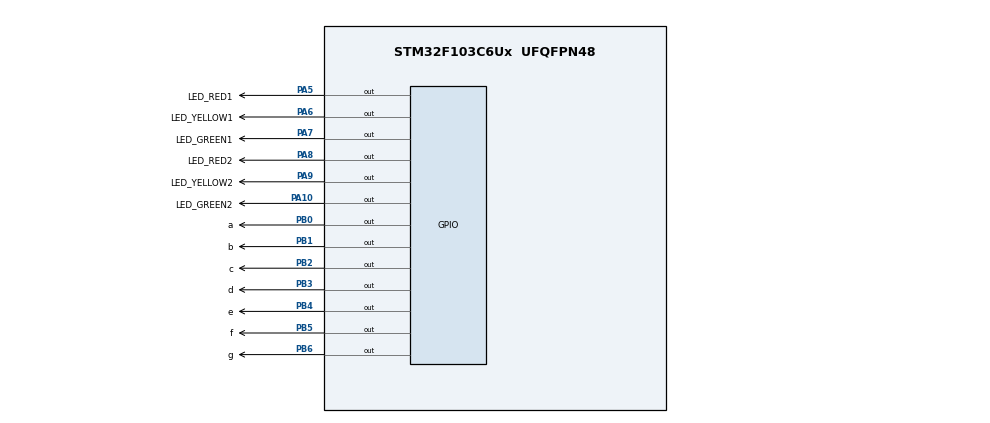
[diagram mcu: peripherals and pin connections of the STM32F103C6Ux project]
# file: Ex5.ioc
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Mcu.Family=STM32F1
Mcu.Name=STM32F103C6Ux
Mcu.Package=UFQFPN48
NVIC.PriorityGroup=NVIC_PRIORITYGROUP_4
PA10.GPIO_Label=LED_GREEN2
PA10.Signal=GPIO_Output
PA5.GPIO_Label=LED_RED1
PA5.Signal=GPIO_Output
PA6.GPIO_Label=LED_YELLOW1
PA6.Signal=GPIO_Output
PA7.GPIO_Label=LED_GREEN1
PA7.Signal=GPIO_Output
PA8.GPIO_Label=LED_RED2
PA8.Signal=GPIO_Output
PA9.GPIO_Label=LED_YELLOW2
PA9.Signal=GPIO_Output
PB0.GPIO_Label=a
PB0.Signal=GPIO_Output
PB1.GPIO_Label=b
PB1.Signal=GPIO_Output
PB2.GPIO_Label=c
PB2.Signal=GPIO_Output
PB3.GPIO_Label=d
PB3.Signal=GPIO_Output
PB4.GPIO_Label=e
PB4.Signal=GPIO_Output
PB5.GPIO_Label=f
PB5.Signal=GPIO_Output
PB6.GPIO_Label=g
PB6.Signal=GPIO_Output
ProjectManager.HeapSize=0x200
ProjectManager.StackSize=0x400
ProjectManager.TargetToolchain=STM32CubeIDE
RCC.APB1Freq_Value=8000000
RCC.APB2Freq_Value=8000000
VP_SYS_VS_ND.Mode=No_Debug
board=custom

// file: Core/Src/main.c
/* USER CODE BEGIN Header */
/**
  ******************************************************************************
  * @file           : main.c
  * @brief          : Main program body
  ******************************************************************************
  * @attention
  *
  * <h2><center>&copy; Copyright (c) 2023 STMicroelectronics.
  * All rights reserved.</center></h2>
  *
  * This software component is licensed by ST under BSD 3-Clause license,
  * the "License"; You may not use this file except in compliance with the
  * License. You may obtain a copy of the License at:
  *                        opensource.org/licenses/BSD-3-Clause
  *
  ******************************************************************************
  */
/* USER CODE END Header */
#include "main.h"

void SystemClock_Config(void);
static void MX_GPIO_Init(void);

/* USER CODE BEGIN 0 */
void display7SEG(int num)
{
    	  switch(num)
    	  {
    	  	  	case 0:
    				  HAL_GPIO_WritePin(a_GPIO_Port, a_Pin, RESET);
    				  HAL_GPIO_WritePin(b_GPIO_Port, b_Pin, RESET);
    				  HAL_GPIO_WritePin(c_GPIO_Port, c_Pin, RESET);
    				  HAL_GPIO_WritePin(d_GPIO_Port, d_Pin, RESET);
    				  HAL_GPIO_WritePin(e_GPIO_Port, e_Pin, RESET);
    				  HAL_GPIO_WritePin(f_GPIO_Port, f_Pin, RESET);
    				  HAL_GPIO_WritePin(g_GPIO_Port, g_Pin, SET);
    				  break;
    	  		case 1:
    				  HAL_GPIO_WritePin(a_GPIO_Port, a_Pin, SET);
    				  HAL_GPIO_WritePin(b_GPIO_Port, b_Pin, RESET);
    				  HAL_GPIO_WritePin(c_GPIO_Port, c_Pin, RESET);
    				  HAL_GPIO_WritePin(d_GPIO_Port, d_Pin, SET);
    				  HAL_GPIO_WritePin(e_GPIO_Port, e_Pin, SET);
    				  HAL_GPIO_WritePin(f_GPIO_Port, f_Pin, SET);
    				  HAL_GPIO_WritePin(g_GPIO_Port, g_Pin, SET);
    				  break;
    	  		case 2:
    				  HAL_GPIO_WritePin(a_GPIO_Port, a_Pin, RESET);
    				  HAL_GPIO_WritePin(b_GPIO_Port, b_Pin, RESET);
    				  HAL_GPIO_WritePin(c_GPIO_Port, c_Pin, SET);
    				  HAL_GPIO_WritePin(d_GPIO_Port, d_Pin, RESET);
    				  HAL_GPIO_WritePin(e_GPIO_Port, e_Pin, RESET);
    				  HAL_GPIO_WritePin(f_GPIO_Port, f_Pin, SET);
    				  HAL_GPIO_WritePin(g_GPIO_Port, g_Pin, RESET);
    				  break;
    	  		case 3:
    				  HAL_GPIO_WritePin(a_GPIO_Port, a_Pin, RESET);
    				  HAL_GPIO_WritePin(b_GPIO_Port, b_Pin, RESET);
    				  HAL_GPIO_WritePin(c_GPIO_Port, c_Pin, RESET);
    				  HAL_GPIO_WritePin(d_GPIO_Port, d_Pin, RESET);
    				  HAL_GPIO_WritePin(e_GPIO_Port, e_Pin, SET);
    				  HAL_GPIO_WritePin(f_GPIO_Port, f_Pin, SET);
    				  HAL_GPIO_WritePin(g_GPIO_Port, g_Pin, RESET);
    				  break;
    	  		case 4:
    		  		  HAL_GPIO_WritePin(a_GPIO_Port, a_Pin, SET);
    				  HAL_GPIO_WritePin(b_GPIO_Port, b_Pin, RESET);
    				  HAL_GPIO_WritePin(c_GPIO_Port, c_Pin, RESET);
    				  HAL_GPIO_WritePin(d_GPIO_Port, d_Pin, SET);
    				  HAL_GPIO_WritePin(e_GPIO_Port, e_Pin, SET);
    				  HAL_GPIO_WritePin(f_GPIO_Port, f_Pin, RESET);
    				  HAL_GPIO_WritePin(g_GPIO_Port, g_Pin, RESET);
    				  break;
    			case 5:
    				  HAL_GPIO_WritePin(a_GPIO_Port, a_Pin, RESET);
    				  HAL_GPIO_WritePin(b_GPIO_Port, b_Pin, SET);
    				  HAL_GPIO_WritePin(c_GPIO_Port, c_Pin, RESET);
    				  HAL_GPIO_WritePin(d_GPIO_Port, d_Pin, RESET);
    				  HAL_GPIO_WritePin(e_GPIO_Port, e_Pin, SET);
    				  HAL_GPIO_WritePin(f_GPIO_Port, f_Pin, RESET);
    				  HAL_GPIO_WritePin(g_GPIO_Port, g_Pin, RESET);
    				  break;
    			case 6:
    				  HAL_GPIO_WritePin(a_GPIO_Port, a_Pin, RESET);
    				  HAL_GPIO_WritePin(b_GPIO_Port, b_Pin, SET);
    				  HAL_GPIO_WritePin(c_GPIO_Port, c_Pin, RESET);
    				  HAL_GPIO_WritePin(d_GPIO_Port, d_Pin, RESET);
    				  HAL_GPIO_WritePin(e_GPIO_Port, e_Pin, RESET);
    				  HAL_GPIO_WritePin(f_GPIO_Port, f_Pin, RESET);
    				  HAL_GPIO_WritePin(g_GPIO_Port, g_Pin, RESET);
    				  break;
    			case 7:
    				  HAL_GPIO_WritePin(a_GPIO_Port, a_Pin, RESET);
    				  HAL_GPIO_WritePin(b_GPIO_Port, b_Pin, RESET);
    				  HAL_GPIO_WritePin(c_GPIO_Port, c_Pin, RESET);
    				  HAL_GPIO_WritePin(d_GPIO_Port, d_Pin, SET);
    				  HAL_GPIO_WritePin(e_GPIO_Port, e_Pin, SET);
    				  HAL_GPIO_WritePin(f_GPIO_Port, f_Pin, SET);
    				  HAL_GPIO_WritePin(g_GPIO_Port, g_Pin, SET);
    				  break;
    			case 8:
    				  HAL_GPIO_WritePin(a_GPIO_Port, a_Pin, RESET);
    				  HAL_GPIO_WritePin(b_GPIO_Port, b_Pin, RESET);
    				  HAL_GPIO_WritePin(c_GPIO_Port, c_Pin, RESET);
    				  HAL_GPIO_WritePin(d_GPIO_Port, d_Pin, RESET);
    				  HAL_GPIO_WritePin(e_GPIO_Port, e_Pin, RESET);
    				  HAL_GPIO_WritePin(f_GPIO_Port, f_Pin, RESET);
    				  HAL_GPIO_WritePin(g_GPIO_Port, g_Pin, RESET);
    				  break;
    			case 9:
    				  HAL_GPIO_WritePin(a_GPIO_Port, a_Pin, RESET);
    				  HAL_GPIO_WritePin(b_GPIO_Port, b_Pin, RESET);
    				  HAL_GPIO_WritePin(c_GPIO_Port, c_Pin, RESET);
    				  HAL_GPIO_WritePin(d_GPIO_Port, d_Pin, RESET);
    				  HAL_GPIO_WritePin(e_GPIO_Port, e_Pin, SET);
    				  HAL_GPIO_WritePin(f_GPIO_Port, f_Pin, RESET);
    				  HAL_GPIO_WritePin(g_GPIO_Port, g_Pin, RESET);
    				  break;

    	  }
}
/* USER CODE END 0 */

int main(void)
{

  /* MCU Configuration--------------------------------------------------------*/

  /* Reset of all peripherals, Initializes the Flash interface and the Systick. */
  HAL_Init();

  /* Configure the system clock */
  SystemClock_Config();

  /* Initialize all configured peripherals */
  MX_GPIO_Init();

  /* Infinite loop */
  /* USER CODE BEGIN WHILE */
  enum TrafficLightState
  {
  	 RED1_GREEN2,
  	 RED1_YELLOW2,
  	 GREEN1_RED2,
  	 YELLOW1_RED2,
  };
    //Initialize the current state of the traffic light
    int counter = 3;
    int light = 5;
    enum TrafficLightState currentState = RED1_GREEN2;
    //Set all LEDs off
    HAL_GPIO_WritePin(LED_RED1_GPIO_Port, LED_RED1_Pin, RESET);
    HAL_GPIO_WritePin(LED_YELLOW1_GPIO_Port, LED_YELLOW1_Pin, RESET);
    HAL_GPIO_WritePin(LED_GREEN1_GPIO_Port, LED_GREEN1_Pin, RESET);
    HAL_GPIO_WritePin(LED_RED2_GPIO_Port, LED_RED2_Pin, RESET);
    HAL_GPIO_WritePin(LED_YELLOW2_GPIO_Port, LED_YELLOW2_Pin, RESET);
    HAL_GPIO_WritePin(LED_GREEN2_GPIO_Port, LED_GREEN2_Pin, RESET);

    while (1)
    {
    	display7SEG(light);
		switch (currentState)
		{
			case RED1_GREEN2:
				HAL_GPIO_WritePin(LED_RED1_GPIO_Port, LED_RED1_Pin, SET);
				HAL_GPIO_WritePin(LED_GREEN2_GPIO_Port, LED_GREEN2_Pin, SET);
				HAL_GPIO_WritePin(LED_YELLOW1_GPIO_Port, LED_YELLOW1_Pin, RESET);
				HAL_GPIO_WritePin(LED_RED2_GPIO_Port, LED_RED2_Pin, RESET);
				counter--;
				light--;
				if (counter <= 0)
				{
					currentState = RED1_YELLOW2;
					counter = 2;

				}
				break;
			case RED1_YELLOW2:
				HAL_GPIO_WritePin(LED_GREEN2_GPIO_Port, LED_GREEN2_Pin, RESET);
				HAL_GPIO_WritePin(LED_YELLOW2_GPIO_Port, LED_YELLOW2_Pin, SET);
				counter--;
				light--;
				if (counter <= 0)
				{
					currentState = GREEN1_RED2;
					counter = 3;
					light = 3;
				}
				break;
			case GREEN1_RED2:
				HAL_GPIO_WritePin(LED_RED1_GPIO_Port, LED_RED1_Pin, RESET);
				HAL_GPIO_WritePin(LED_GREEN1_GPIO_Port, LED_GREEN1_Pin, SET);
				HAL_GPIO_WritePin(LED_YELLOW2_GPIO_Port, LED_YELLOW2_Pin, RESET);
				HAL_GPIO_WritePin(LED_RED2_GPIO_Port, LED_RED2_Pin, SET);
				counter--;
				light--;
				if (counter <= 0)
				{
					currentState = YELLOW1_RED2;
					counter = 2;
					light = 2;
				}
				break;
			case YELLOW1_RED2:
				HAL_GPIO_WritePin(LED_GREEN1_GPIO_Port, LED_GREEN1_Pin, RESET);
				HAL_GPIO_WritePin(LED_YELLOW1_GPIO_Port, LED_YELLOW1_Pin, SET);
				counter--;
				light--;
				if (counter <= 0)
				{
					currentState = RED1_GREEN2;
					counter = 3;
					light = 5;
				}
				break;
		}
  	HAL_Delay(1000);
    /* USER CODE END WHILE */

  }
}

void SystemClock_Config(void)
{
  RCC_OscInitTypeDef RCC_OscInitStruct = {0};
  RCC_ClkInitTypeDef RCC_ClkInitStruct = {0};

  /** Initializes the RCC Oscillators according to the specified parameters
  * in the RCC_OscInitTypeDef structure.
  */
  RCC_OscInitStruct.OscillatorType = RCC_OSCILLATORTYPE_HSI;
  RCC_OscInitStruct.HSIState = RCC_HSI_ON;
  RCC_OscInitStruct.HSICalibrationValue = RCC_HSICALIBRATION_DEFAULT;
  RCC_OscInitStruct.PLL.PLLState = RCC_PLL_NONE;
  if (HAL_RCC_OscConfig(&RCC_OscInitStruct) != HAL_OK)
  {
    Error_Handler();
  }
  /** Initializes the CPU, AHB and APB buses clocks
  */
  RCC_ClkInitStruct.ClockType = RCC_CLOCKTYPE_HCLK|RCC_CLOCKTYPE_SYSCLK
                              |RCC_CLOCKTYPE_PCLK1|RCC_CLOCKTYPE_PCLK2;
  RCC_ClkInitStruct.SYSCLKSource = RCC_SYSCLKSOURCE_HSI;
  RCC_ClkInitStruct.AHBCLKDivider = RCC_SYSCLK_DIV1;
  RCC_ClkInitStruct.APB1CLKDivider = RCC_HCLK_DIV1;
  RCC_ClkInitStruct.APB2CLKDivider = RCC_HCLK_DIV1;

  if (HAL_RCC_ClockConfig(&RCC_ClkInitStruct, FLASH_LATENCY_0) != HAL_OK)
  {
    Error_Handler();
  }
}

static void MX_GPIO_Init(void)
{
  GPIO_InitTypeDef GPIO_InitStruct = {0};

  /* GPIO Ports Clock Enable */
  __HAL_RCC_GPIOA_CLK_ENABLE();
  __HAL_RCC_GPIOB_CLK_ENABLE();

  /*Configure GPIO pin Output Level */
  HAL_GPIO_WritePin(GPIOA, LED_RED1_Pin|LED_YELLOW1_Pin|LED_GREEN1_Pin|LED_RED2_Pin
                          |LED_YELLOW2_Pin|LED_GREEN2_Pin, GPIO_PIN_RESET);

  /*Configure GPIO pin Output Level */
  HAL_GPIO_WritePin(GPIOB, a_Pin|b_Pin|c_Pin|d_Pin
                          |e_Pin|f_Pin|g_Pin, GPIO_PIN_RESET);

  /*Configure GPIO pins : LED_RED1_Pin LED_YELLOW1_Pin LED_GREEN1_Pin LED_RED2_Pin
                           LED_YELLOW2_Pin LED_GREEN2_Pin */
  GPIO_InitStruct.Pin = LED_RED1_Pin|LED_YELLOW1_Pin|LED_GREEN1_Pin|LED_RED2_Pin
                          |LED_YELLOW2_Pin|LED_GREEN2_Pin;
  GPIO_InitStruct.Mode = GPIO_MODE_OUTPUT_PP;
  GPIO_InitStruct.Pull = GPIO_NOPULL;
  GPIO_InitStruct.Speed = GPIO_SPEED_FREQ_LOW;
  HAL_GPIO_Init(GPIOA, &GPIO_InitStruct);

  /*Configure GPIO pins : a_Pin b_Pin c_Pin d_Pin
                           e_Pin f_Pin g_Pin */
  GPIO_InitStruct.Pin = a_Pin|b_Pin|c_Pin|d_Pin
                          |e_Pin|f_Pin|g_Pin;
  GPIO_InitStruct.Mode = GPIO_MODE_OUTPUT_PP;
  GPIO_InitStruct.Pull = GPIO_NOPULL;
  GPIO_InitStruct.Speed = GPIO_SPEED_FREQ_LOW;
  HAL_GPIO_Init(GPIOB, &GPIO_InitStruct);

}

void Error_Handler(void)
{
  __disable_irq();
  while (1)
  {
  }
}

/************************ (C) COPYRIGHT STMicroelectronics *****END OF FILE****/
